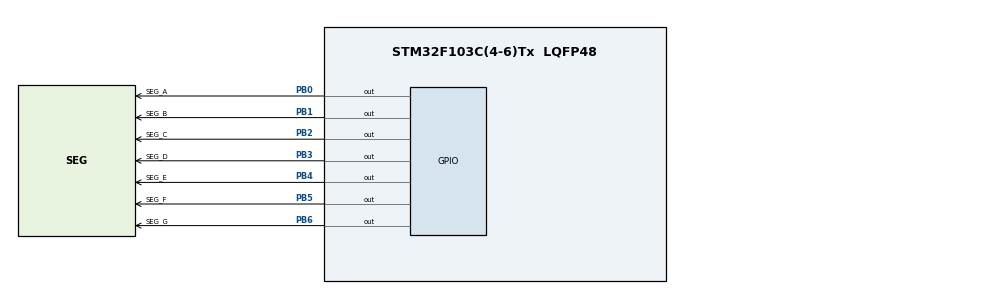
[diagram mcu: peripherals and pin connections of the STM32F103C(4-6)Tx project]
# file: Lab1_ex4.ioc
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Mcu.Family=STM32F1
Mcu.Name=STM32F103C(4-6)Tx
Mcu.Package=LQFP48
NVIC.PriorityGroup=NVIC_PRIORITYGROUP_4
PB0.GPIO_Label=SEG_A
PB0.Signal=GPIO_Output
PB1.GPIO_Label=SEG_B
PB1.Signal=GPIO_Output
PB2.GPIO_Label=SEG_C
PB2.Signal=GPIO_Output
PB3.GPIO_Label=SEG_D
PB3.Signal=GPIO_Output
PB4.GPIO_Label=SEG_E
PB4.Signal=GPIO_Output
PB5.GPIO_Label=SEG_F
PB5.Signal=GPIO_Output
PB6.GPIO_Label=SEG_G
PB6.Signal=GPIO_Output
ProjectManager.HeapSize=0x200
ProjectManager.StackSize=0x400
ProjectManager.TargetToolchain=STM32CubeIDE
RCC.APB1Freq_Value=8000000
RCC.APB2Freq_Value=8000000
board=custom

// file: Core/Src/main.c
/* USER CODE BEGIN Header */
/**
  ******************************************************************************
  * @file           : main.c
  * @brief          : Main program body
  ******************************************************************************
  * @attention
  *
  * Copyright (c) 2023 STMicroelectronics.
  * All rights reserved.
  *
  * This software is licensed under terms that can be found in the LICENSE file
  * in the root directory of this software component.
  * If no LICENSE file comes with this software, it is provided AS-IS.
  *
  ******************************************************************************
  */
/* USER CODE END Header */
#include "main.h"

/* USER CODE BEGIN Includes */
#include "software_timer.h"
/* USER CODE END Includes */

void SystemClock_Config(void);
static void MX_GPIO_Init(void);

/* USER CODE BEGIN 0 */
const uint8_t led_pattern[] = {	// abcdefgh
	    0b1000000, // 0
	    0b1111001, // 1
	    0b0100100, // 2
	    0b0110000, // 3
	    0b0011001, // 4
	    0b0010010, // 5
	    0b0000010, // 6
	    0b1111000, // 7
	    0b0000000, // 8
	    0b0010000  // 9
};

void display7SEG(int n) {
	uint8_t pattern = led_pattern[n];
	HAL_GPIO_WritePin(LED_7SEG_Port, SEG_A_Pin, (pattern >> 0) & 1);
	HAL_GPIO_WritePin(LED_7SEG_Port, SEG_B_Pin, (pattern >> 1) & 1);
	HAL_GPIO_WritePin(LED_7SEG_Port, SEG_C_Pin, (pattern >> 2) & 1);
	HAL_GPIO_WritePin(LED_7SEG_Port, SEG_D_Pin, (pattern >> 3) & 1);
	HAL_GPIO_WritePin(LED_7SEG_Port, SEG_E_Pin, (pattern >> 4) & 1);
	HAL_GPIO_WritePin(LED_7SEG_Port, SEG_F_Pin, (pattern >> 5) & 1);
	HAL_GPIO_WritePin(LED_7SEG_Port, SEG_G_Pin, (pattern >> 6) & 1);
}
/* USER CODE END 0 */

int main(void)
{

  /* MCU Configuration--------------------------------------------------------*/

  /* Reset of all peripherals, Initializes the Flash interface and the Systick. */
  HAL_Init();

  /* Configure the system clock */
  SystemClock_Config();

  /* Initialize all configured peripherals */
  MX_GPIO_Init();

  /* Infinite loop */
  /* USER CODE BEGIN WHILE */

  int counter = 0;
  while (1)
  {
	  if (counter >= 10) counter = 0;
	  display7SEG(counter++);
	  HAL_Delay(1000);
    /* USER CODE END WHILE */

  }
}

void SystemClock_Config(void)
{
  RCC_OscInitTypeDef RCC_OscInitStruct = {0};
  RCC_ClkInitTypeDef RCC_ClkInitStruct = {0};

  /** Initializes the RCC Oscillators according to the specified parameters
  * in the RCC_OscInitTypeDef structure.
  */
  RCC_OscInitStruct.OscillatorType = RCC_OSCILLATORTYPE_HSI;
  RCC_OscInitStruct.HSIState = RCC_HSI_ON;
  RCC_OscInitStruct.HSICalibrationValue = RCC_HSICALIBRATION_DEFAULT;
  RCC_OscInitStruct.PLL.PLLState = RCC_PLL_NONE;
  if (HAL_RCC_OscConfig(&RCC_OscInitStruct) != HAL_OK)
  {
    Error_Handler();
  }

  /** Initializes the CPU, AHB and APB buses clocks
  */
  RCC_ClkInitStruct.ClockType = RCC_CLOCKTYPE_HCLK|RCC_CLOCKTYPE_SYSCLK
                              |RCC_CLOCKTYPE_PCLK1|RCC_CLOCKTYPE_PCLK2;
  RCC_ClkInitStruct.SYSCLKSource = RCC_SYSCLKSOURCE_HSI;
  RCC_ClkInitStruct.AHBCLKDivider = RCC_SYSCLK_DIV1;
  RCC_ClkInitStruct.APB1CLKDivider = RCC_HCLK_DIV1;
  RCC_ClkInitStruct.APB2CLKDivider = RCC_HCLK_DIV1;

  if (HAL_RCC_ClockConfig(&RCC_ClkInitStruct, FLASH_LATENCY_0) != HAL_OK)
  {
    Error_Handler();
  }
}

static void MX_GPIO_Init(void)
{
  GPIO_InitTypeDef GPIO_InitStruct = {0};

  /* GPIO Ports Clock Enable */
  __HAL_RCC_GPIOB_CLK_ENABLE();

  /*Configure GPIO pin Output Level */
  HAL_GPIO_WritePin(GPIOB, SEG_A_Pin|SEG_B_Pin|SEG_C_Pin|SEG_D_Pin
                          |SEG_E_Pin|SEG_F_Pin|SEG_G_Pin, GPIO_PIN_RESET);

  /*Configure GPIO pins : SEG_A_Pin SEG_B_Pin SEG_C_Pin SEG_D_Pin
                           SEG_E_Pin SEG_F_Pin SEG_G_Pin */
  GPIO_InitStruct.Pin = SEG_A_Pin|SEG_B_Pin|SEG_C_Pin|SEG_D_Pin
                          |SEG_E_Pin|SEG_F_Pin|SEG_G_Pin;
  GPIO_InitStruct.Mode = GPIO_MODE_OUTPUT_PP;
  GPIO_InitStruct.Pull = GPIO_NOPULL;
  GPIO_InitStruct.Speed = GPIO_SPEED_FREQ_LOW;
  HAL_GPIO_Init(GPIOB, &GPIO_InitStruct);

}

void Error_Handler(void)
{
  __disable_irq();
  while (1)
  {
  }
}
